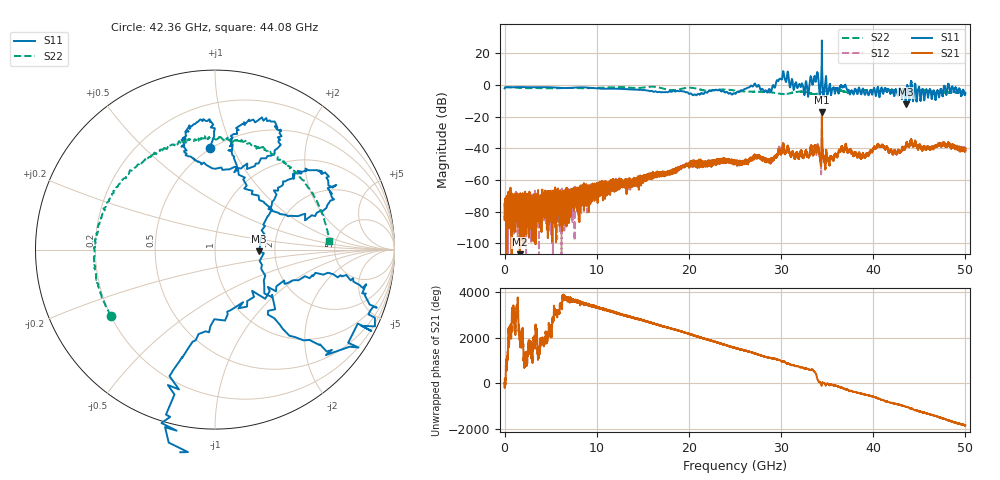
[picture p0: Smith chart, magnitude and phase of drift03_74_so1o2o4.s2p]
!Created with skrf (http://scikit-rf.org).
# Hz S RI R 50.0
!freq ReS11 ImS11 ReS21 ImS21 ReS12 ImS12 ReS22 ImS22
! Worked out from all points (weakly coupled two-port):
!   10000 points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, 5.3 MHz to 50 GHz, reference 50 ohm
!   highest |S21| = -17.02 dB at 34.43 GHz (marker M1); lowest = -112.7 dB at 1.655 GHz (marker M2)
!   lowest |S11| = -12.3 dB at 43.52 GHz (marker M3), VSWR 1.64, Z = 82.1 - j1.68 ohm
!   |S11| at or under -10 dB: 43.4835 GHz to 43.5455 GHz (62 MHz wide, 0.142 % of centre); 43.89954 GHz to 43.9012 GHz (1.652 MHz wide, 0.00376 % of centre); 44.70479 GHz to 44.71298 GHz (8.194 MHz wide, 0.0183 % of centre) (the widest 3 of 6)
!   |S22| runs from -5.8 to -1.1 dB; largest |S21 - S12| = 0.046
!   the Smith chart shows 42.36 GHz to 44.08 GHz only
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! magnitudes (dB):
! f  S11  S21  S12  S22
! 5.3 MHz  -2.1  -83.3  -77.7  -1.3
! 1.655 GHz  -1.3  -112.7  -76.6  -1.8
! 8.34 GHz  -1.5  -65.7  -72.9  -2.1
! 16.67 GHz  -4.4  -56.2  -56.6  -1.5
! 20.24 GHz  -5.4  -49.6  -49.9  -1.8
! 25.01 GHz  -5.5  -49.3  -49.6  -3.5
! 27.02 GHz  -0.3  -45.1  -45.8  -4.2
! 28.72 GHz  -2.5  -47.5  -47.9  -4.5
! 30.14 GHz  4.4  -40.2  -40.2  -5.6
! 32.74 GHz  2.1  -41.9  -42.0  -4.6
! 33.34 GHz  2.6  -40.0  -40.5  -5.6
! 33.82 GHz  4.0  -42.4  -42.3  -5.6
! 34.43 GHz  28.2  -17.0  -19.6  -4.6
! 35.27 GHz  0.2  -50.2  -48.2  -3.4
! 36.84 GHz  -0.7  -42.0  -41.5  -4.1
! 38.87 GHz  -2.4  -43.4  -44.0  -3.2
! 40.61 GHz  -5.2  -38.0  -38.6  -4.0
! 41.67 GHz  -2.8  -41.5  -41.9  -3.3
! 43.52 GHz  -12.3  -38.6  -38.6  -4.1
! 46.94 GHz  -3.6  -38.1  -38.8  -4.9
! 48.33 GHz  -4.5  -38.5  -37.9  -4.6
! 50 GHz  -5.2  -40.0  -41.6  -4.5
